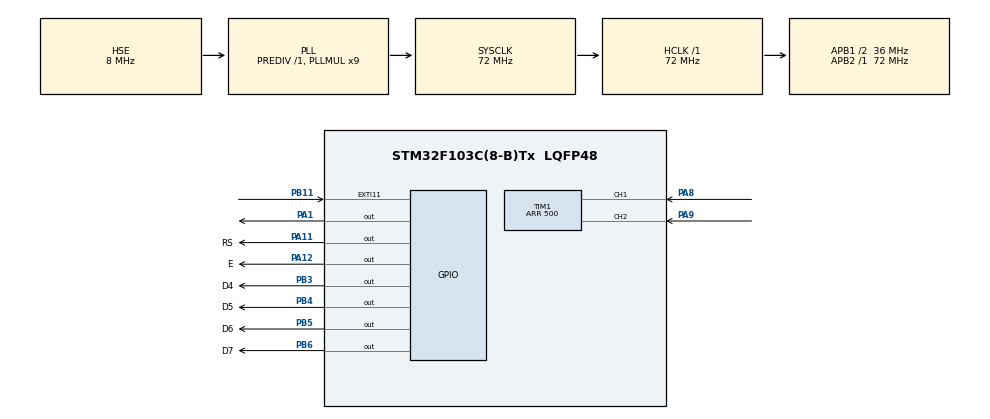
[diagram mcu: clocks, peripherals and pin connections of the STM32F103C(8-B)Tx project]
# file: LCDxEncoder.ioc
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Mcu.Family=STM32F1
Mcu.Name=STM32F103C(8-B)Tx
Mcu.Package=LQFP48
NVIC.EXTI15_10_IRQn=true\:0\:0\:false\:false\:true\:true\:true
NVIC.PriorityGroup=NVIC_PRIORITYGROUP_4
NVIC.TIM1_CC_IRQn=true\:0\:0\:false\:false\:true\:true\:true
NVIC.TIM1_TRG_COM_IRQn=true\:0\:0\:false\:false\:true\:true\:true
NVIC.TIM1_UP_IRQn=true\:0\:0\:false\:false\:true\:true\:true
PA1.PinState=GPIO_PIN_SET
PA1.Signal=GPIO_Output
PA11.GPIO_Label=RS
PA11.Signal=GPIO_Output
PA12.GPIO_Label=E
PA12.Signal=GPIO_Output
PA13.Mode=Serial_Wire
PA13.Signal=SYS_JTMS-SWDIO
PA14.Mode=Serial_Wire
PA14.Signal=SYS_JTCK-SWCLK
PA8.Signal=S_TIM1_CH1
PA9.Signal=S_TIM1_CH2
PB11.GPIO_ModeDefaultEXTI=GPIO_MODE_IT_FALLING
PB11.GPIO_PuPd=GPIO_PULLDOWN
PB11.Signal=GPXTI11
PB3.GPIO_Label=D4
PB3.GPIO_Speed=GPIO_SPEED_FREQ_MEDIUM
PB3.Signal=GPIO_Output
PB4.GPIO_Label=D5
PB4.GPIO_Speed=GPIO_SPEED_FREQ_MEDIUM
PB4.Signal=GPIO_Output
PB5.GPIO_Label=D6
PB5.GPIO_Speed=GPIO_SPEED_FREQ_MEDIUM
PB5.Signal=GPIO_Output
PB6.GPIO_Label=D7
PB6.GPIO_Speed=GPIO_SPEED_FREQ_MEDIUM
PB6.Signal=GPIO_Output
PD0-OSC_IN.Mode=HSE-External-Oscillator
PD0-OSC_IN.Signal=RCC_OSC_IN
PD1-OSC_OUT.Mode=HSE-External-Oscillator
PD1-OSC_OUT.Signal=RCC_OSC_OUT
ProjectManager.HeapSize=0x200
ProjectManager.StackSize=0x400
ProjectManager.TargetToolchain=MDK-ARM V5.27
RCC.AHBFreq_Value=72000000
RCC.APB1CLKDivider=RCC_HCLK_DIV2
RCC.APB1Freq_Value=36000000
RCC.APB1TimFreq_Value=72000000
RCC.APB2Freq_Value=72000000
RCC.APB2TimFreq_Value=72000000
RCC.HCLKFreq_Value=72000000
RCC.PLLMUL=RCC_PLL_MUL9
RCC.PLLSourceVirtual=RCC_PLLSOURCE_HSE
RCC.SYSCLKFreq_VALUE=72000000
RCC.SYSCLKSource=RCC_SYSCLKSOURCE_PLLCLK
RCC.USBFreq_Value=72000000
SH.S_TIM1_CH1.0=TIM1_CH1,Encoder_Interface
SH.S_TIM1_CH2.0=TIM1_CH2,Encoder_Interface
TIM1.CounterMode=TIM_COUNTERMODE_CENTERALIGNED1
TIM1.IC1Filter=2
TIM1.IC2Filter=2
TIM1.Period=500
board=custom

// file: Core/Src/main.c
/* USER CODE BEGIN Header */
/**
  ******************************************************************************
  * @file           : main.c
  * @brief          : Main program body
  ******************************************************************************
  * @attention
  *
  * <h2><center>&copy; Copyright (c) 2020 STMicroelectronics.
  * All rights reserved.</center></h2>
  *
  * This software component is licensed by ST under BSD 3-Clause license,
  * the "License"; You may not use this file except in compliance with the
  * License. You may obtain a copy of the License at:
  *                        opensource.org/licenses/BSD-3-Clause
  *
  ******************************************************************************
  */
/* USER CODE END Header */
#include "main.h"

/* USER CODE BEGIN Includes */
#include "lcd16x2.h"
/* USER CODE END Includes */

TIM_HandleTypeDef htim1;

/* USER CODE BEGIN PV */
uint16_t count = 10;
uint16_t butt_count = 0;
uint16_t progtime;
/*FLAGS*/
uint16_t pulse_F = 0;
uint16_t freq_F = 0;
uint16_t run_F = 0;
uint16_t Enc_Counter = 0;
float frequency = 0;
uint16_t status = 0;
uint16_t i = 0;
uint16_t  clear_count = 0;
uint16_t clear_frequency = 0;
uint8_t valve = 80;
uint8_t frq_flag = 1;
/* USER CODE END PV */

void SystemClock_Config(void);
static void MX_GPIO_Init(void);
static void MX_TIM1_Init(void);

int main(void)
{
  /* USER CODE BEGIN 1 */
	HAL_GPIO_WritePin(GPIOA, GPIO_PIN_12, GPIO_PIN_SET);
	butt_count = 0;
  /* USER CODE END 1 */

  /* MCU Configuration--------------------------------------------------------*/

  /* Reset of all peripherals, Initializes the Flash interface and the Systick. */
  HAL_Init();

  /* Configure the system clock */
  SystemClock_Config();

  /* Initialize all configured peripherals */
  MX_GPIO_Init();
  MX_TIM1_Init();
  /* USER CODE BEGIN 2 */
	HAL_TIM_Encoder_Start(&htim1, TIM_CHANNEL_1);
  lcd16x2_init_4bits(RS_GPIO_Port, RS_Pin, E_Pin,
      D4_GPIO_Port, D4_Pin, D5_Pin, D6_Pin, D7_Pin);
	lcd16x2_cursorShow(0);
	progtime = HAL_GetTick();
  /* USER CODE END 2 */

  /* Infinite loop */
  /* USER CODE BEGIN WHILE */
  while (1)
  {
		lcd16x2_clear(); // check if remove

    /* USER CODE END WHILE */

    /* USER CODE BEGIN 3 */
		if(butt_count == 0)
		{
			i = 0;
			pulse_F = 0;
			freq_F = 0; // flag that shows
			count = 10;
			count = TIM1 -> CNT;
			lcd16x2_setCursor(0,0);
			lcd16x2_printf("pulse num = %d", count);
			HAL_Delay(50);
			HAL_GetTick();
			}
		else if (butt_count == 1)
			{
			 if (pulse_F == 0){
				 TIM1 -> CNT = 10;
				 pulse_F = 1;
			 }
				else{
					frequency = TIM1 -> CNT;
					frequency /= 10;
					lcd16x2_clear();
					lcd16x2_setCursor(0,0);
					lcd16x2_printf("freq = %.1f", frequency);
					freq_F = 1;
					HAL_Delay(50);
					HAL_GetTick();
				}
			}

		else if (butt_count == 2)
			{
				if (frequency >= 10 || frequency == 0 )
				{
					HAL_GetTick();
					lcd16x2_setCursor(0,0);
					lcd16x2_printf("Out Of Range");
					lcd16x2_setCursor(1,0);
					lcd16x2_printf("Set (0,10)");
					HAL_Delay(1500);
					butt_count = 1;
				}
				else {
					if (freq_F == 0)
					{
						butt_count = 1;
					}
				else{
					lcd16x2_setCursor(0,0);
					lcd16x2_printf("freq = %.1f", frequency);
					lcd16x2_setCursor(1,0);
					lcd16x2_printf("pulse num = %d", count);
					HAL_Delay(50);
					HAL_GetTick();
				}
			}
		}
			else if (butt_count == 3){
			status = 3;
			while (i != count)
				{
				lcd16x2_clear();
				lcd16x2_setCursor(0,0);
				lcd16x2_printf("pulse number %d", i+1);
				HAL_GPIO_WritePin(GPIOA, GPIO_PIN_1, GPIO_PIN_RESET);
				HAL_Delay(valve);
				HAL_GPIO_WritePin(GPIOA, GPIO_PIN_1, GPIO_PIN_SET);
				HAL_Delay((1000/frequency)-valve);
				i++;
				}
			TIM1 -> CNT = 0;
			lcd16x2_setCursor(0,0);
			lcd16x2_printf("Press Any Key To");
			lcd16x2_setCursor(1,0);
			lcd16x2_printf("Set A Pulse Num");
			HAL_Delay(50);
			HAL_GetTick();

			}
		}
  }
  /* USER CODE END 3 */

void SystemClock_Config(void)
{
  RCC_OscInitTypeDef RCC_OscInitStruct = {0};
  RCC_ClkInitTypeDef RCC_ClkInitStruct = {0};

  /** Initializes the RCC Oscillators according to the specified parameters
  * in the RCC_OscInitTypeDef structure.
  */
  RCC_OscInitStruct.OscillatorType = RCC_OSCILLATORTYPE_HSE;
  RCC_OscInitStruct.HSEState = RCC_HSE_ON;
  RCC_OscInitStruct.HSEPredivValue = RCC_HSE_PREDIV_DIV1;
  RCC_OscInitStruct.HSIState = RCC_HSI_ON;
  RCC_OscInitStruct.PLL.PLLState = RCC_PLL_ON;
  RCC_OscInitStruct.PLL.PLLSource = RCC_PLLSOURCE_HSE;
  RCC_OscInitStruct.PLL.PLLMUL = RCC_PLL_MUL9;
  if (HAL_RCC_OscConfig(&RCC_OscInitStruct) != HAL_OK)
  {
    Error_Handler();
  }
  /** Initializes the CPU, AHB and APB buses clocks
  */
  RCC_ClkInitStruct.ClockType = RCC_CLOCKTYPE_HCLK|RCC_CLOCKTYPE_SYSCLK
                              |RCC_CLOCKTYPE_PCLK1|RCC_CLOCKTYPE_PCLK2;
  RCC_ClkInitStruct.SYSCLKSource = RCC_SYSCLKSOURCE_PLLCLK;
  RCC_ClkInitStruct.AHBCLKDivider = RCC_SYSCLK_DIV1;
  RCC_ClkInitStruct.APB1CLKDivider = RCC_HCLK_DIV2;
  RCC_ClkInitStruct.APB2CLKDivider = RCC_HCLK_DIV1;

  if (HAL_RCC_ClockConfig(&RCC_ClkInitStruct, FLASH_LATENCY_2) != HAL_OK)
  {
    Error_Handler();
  }
}

static void MX_TIM1_Init(void)
{

  TIM_Encoder_InitTypeDef sConfig = {0};
  TIM_MasterConfigTypeDef sMasterConfig = {0};

  htim1.Instance = TIM1;
  htim1.Init.Prescaler = 0;
  htim1.Init.CounterMode = TIM_COUNTERMODE_CENTERALIGNED1;
  htim1.Init.Period = 500;
  htim1.Init.ClockDivision = TIM_CLOCKDIVISION_DIV1;
  htim1.Init.RepetitionCounter = 0;
  htim1.Init.AutoReloadPreload = TIM_AUTORELOAD_PRELOAD_DISABLE;
  sConfig.EncoderMode = TIM_ENCODERMODE_TI1;
  sConfig.IC1Polarity = TIM_ICPOLARITY_RISING;
  sConfig.IC1Selection = TIM_ICSELECTION_DIRECTTI;
  sConfig.IC1Prescaler = TIM_ICPSC_DIV1;
  sConfig.IC1Filter = 2;
  sConfig.IC2Polarity = TIM_ICPOLARITY_RISING;
  sConfig.IC2Selection = TIM_ICSELECTION_DIRECTTI;
  sConfig.IC2Prescaler = TIM_ICPSC_DIV1;
  sConfig.IC2Filter = 2;
  if (HAL_TIM_Encoder_Init(&htim1, &sConfig) != HAL_OK)
  {
    Error_Handler();
  }
  sMasterConfig.MasterOutputTrigger = TIM_TRGO_RESET;
  sMasterConfig.MasterSlaveMode = TIM_MASTERSLAVEMODE_DISABLE;
  if (HAL_TIMEx_MasterConfigSynchronization(&htim1, &sMasterConfig) != HAL_OK)
  {
    Error_Handler();
  }

}

static void MX_GPIO_Init(void)
{
  GPIO_InitTypeDef GPIO_InitStruct = {0};

  /* GPIO Ports Clock Enable */
  __HAL_RCC_GPIOD_CLK_ENABLE();
  __HAL_RCC_GPIOA_CLK_ENABLE();
  __HAL_RCC_GPIOB_CLK_ENABLE();

  /*Configure GPIO pin Output Level */
  HAL_GPIO_WritePin(GPIOA, GPIO_PIN_1, GPIO_PIN_SET);

  /*Configure GPIO pin Output Level */
  HAL_GPIO_WritePin(GPIOA, RS_Pin|E_Pin, GPIO_PIN_RESET);

  /*Configure GPIO pin Output Level */
  HAL_GPIO_WritePin(GPIOB, D4_Pin|D5_Pin|D6_Pin|D7_Pin, GPIO_PIN_RESET);

  /*Configure GPIO pins : PA1 RS_Pin E_Pin */
  GPIO_InitStruct.Pin = GPIO_PIN_1|RS_Pin|E_Pin;
  GPIO_InitStruct.Mode = GPIO_MODE_OUTPUT_PP;
  GPIO_InitStruct.Pull = GPIO_NOPULL;
  GPIO_InitStruct.Speed = GPIO_SPEED_FREQ_LOW;
  HAL_GPIO_Init(GPIOA, &GPIO_InitStruct);

  /*Configure GPIO pin : PB11 */
  GPIO_InitStruct.Pin = GPIO_PIN_11;
  GPIO_InitStruct.Mode = GPIO_MODE_IT_FALLING;
  GPIO_InitStruct.Pull = GPIO_PULLDOWN;
  HAL_GPIO_Init(GPIOB, &GPIO_InitStruct);

  /*Configure GPIO pins : D4_Pin D5_Pin D6_Pin D7_Pin */
  GPIO_InitStruct.Pin = D4_Pin|D5_Pin|D6_Pin|D7_Pin;
  GPIO_InitStruct.Mode = GPIO_MODE_OUTPUT_PP;
  GPIO_InitStruct.Pull = GPIO_NOPULL;
  GPIO_InitStruct.Speed = GPIO_SPEED_FREQ_MEDIUM;
  HAL_GPIO_Init(GPIOB, &GPIO_InitStruct);

  /* EXTI interrupt init*/
  HAL_NVIC_SetPriority(EXTI15_10_IRQn, 0, 0);
  HAL_NVIC_EnableIRQ(EXTI15_10_IRQn);

}

/* USER CODE BEGIN 4 */
void HAL_TIM_IC_CaptureCallback(TIM_HandleTypeDef *htim)
{
        if(htim->Instance == TIM1)
        {
                uint32_t count = __HAL_TIM_GET_COUNTER(htim);
                uint8_t direct = __HAL_TIM_IS_TIM_COUNTING_DOWN(htim);
}
}
/* USER CODE END 4 */

void Error_Handler(void)
{
}

/************************ (C) COPYRIGHT STMicroelectronics *****END OF FILE****/
